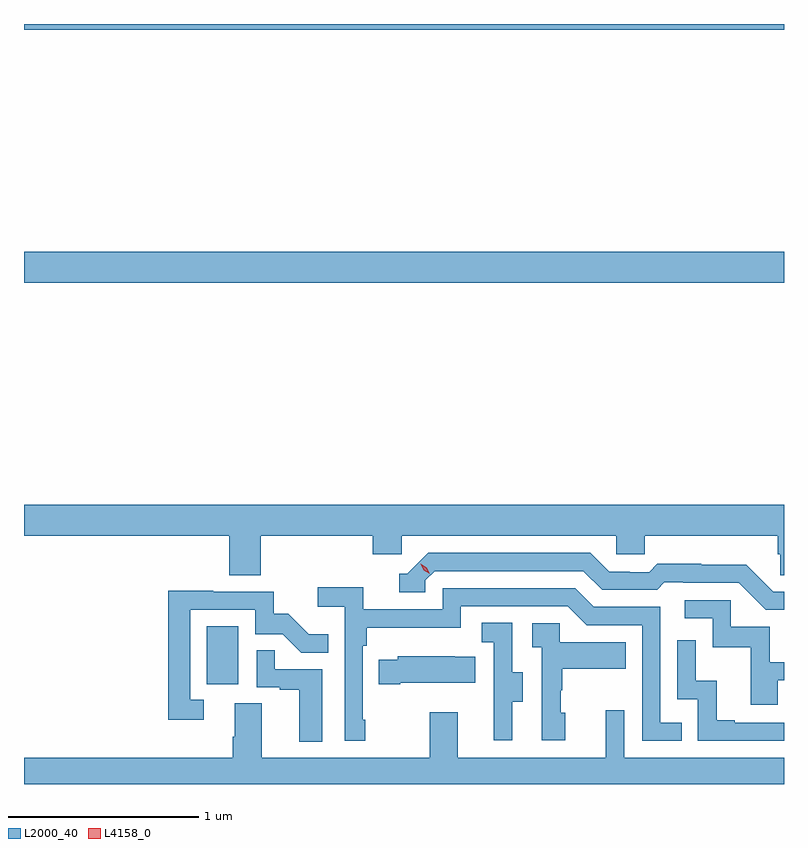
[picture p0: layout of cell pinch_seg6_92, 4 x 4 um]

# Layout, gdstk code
import gdstk
lib = gdstk.Library(unit=1e-6, precision=1e-09)
def R(c, l, rs):  # rectangles x0, y0, x1, y1
    for r in rs: c.add(gdstk.rectangle(r[:2], r[2:], *l))
def P(c, l, *ps):  # polygons
    for p in ps: c.add(gdstk.Polygon(p, *l))
L2000_40 = (2000, 40)
L4158_0 = (4158, 0)

pinch_seg6_92 = lib.new_cell('pinch_seg6_92')
R(pinch_seg6_92, L2000_40, [(921.674,918.582,921.838,918.889), (920.711,920.696,924.711,920.86), (920.711,922.028,924.711,922.058)])
P(pinch_seg6_92, L2000_40, [(921.956,919.364),(922.547,919.364),(922.547,919.266),(922.698,919.266),(922.698,919.364),(923.829,919.364),(923.829,919.266),(923.979,919.266),(923.979,919.364),(924.677,919.364),(924.677,919.266),(924.691,919.266),(924.691,919.156),(924.711,919.156),(924.711,919.528),(920.711,919.528),(920.711,919.364),(921.791,919.364),(921.791,919.156),(921.956,919.156)],
  [(924.711,919.071),(924.654,919.071),(924.512,919.213),(924.276,919.213),(924.276,919.216),(924.043,919.216),(924.001,919.173),(923.898,919.173),(923.898,919.176),(923.791,919.176),(923.692,919.275),(922.839,919.275),(922.728,919.164),(922.685,919.164),(922.685,919.068),(922.824,919.068),(922.824,919.131),(922.872,919.179),(923.655,919.179),(923.754,919.08),(924.043,919.08),(924.082,919.119),(924.181,919.119),(924.181,919.116),(924.474,919.116),(924.615,918.975),(924.711,918.975)],
  [(922.507,918.397),(922.494,918.397),(922.494,918.785),(922.514,918.785),(922.514,918.881),(923.01,918.881),(923.01,918.993),(923.574,918.993),(923.673,918.894),(923.964,918.894),(923.964,918.285),(924.173,918.285),(924.173,918.381),(924.06,918.381),(924.06,918.99),(923.71,918.99),(923.611,919.089),(922.914,919.089),(922.914,918.978),(922.496,918.978),(922.496,919.094),(922.257,919.094),(922.257,918.992),(922.398,918.992),(922.398,918.285),(922.507,918.285)],
  [(921.658,918.501),(921.585,918.501),(921.585,918.975),(921.927,918.975),(921.927,918.846),(922.072,918.846),(922.17,918.748),(922.313,918.748),(922.313,918.847),(922.209,918.847),(922.102,918.954),(922.026,918.954),(922.026,919.071),(921.707,919.071),(921.707,919.076),(921.469,919.076),(921.469,918.396),(921.658,918.396)],
  [(924.679,918.603),(924.711,918.603),(924.711,918.699),(924.637,918.699),(924.637,918.885),(924.432,918.885),(924.432,919.026),(924.189,919.026),(924.189,918.93),(924.336,918.93),(924.336,918.777),(924.535,918.777),(924.535,918.474),(924.679,918.474)],
  [(923.281,918.49),(923.335,918.49),(923.335,918.645),(923.28,918.645),(923.28,918.908),(923.121,918.908),(923.121,918.805),(923.184,918.805),(923.184,918.501),(923.183,918.501),(923.183,918.288),(923.281,918.288)],
  [(923.56,918.432),(923.535,918.432),(923.535,918.551),(923.545,918.551),(923.545,918.665),(923.879,918.665),(923.879,918.805),(923.532,918.805),(923.532,918.903),(923.385,918.903),(923.385,918.779),(923.436,918.779),(923.436,918.288),(923.56,918.288)],
  [(924.711,918.381),(924.451,918.381),(924.451,918.394),(924.356,918.394),(924.356,918.602),(924.246,918.602),(924.246,918.814),(924.15,918.814),(924.15,918.504),(924.258,918.504),(924.258,918.285),(924.711,918.285)],
  [(922.282,918.663),(922.031,918.663),(922.031,918.761),(921.936,918.761),(921.936,918.567),(922.057,918.567),(922.057,918.555),(922.16,918.555),(922.16,918.281),(922.282,918.281)],
  [(922.69,918.59),(923.087,918.59),(923.087,918.727),(922.979,918.727),(922.979,918.73),(922.677,918.73),(922.677,918.712),(922.579,918.712),(922.579,918.583),(922.69,918.583)],
  [(924.711,918.196),(923.871,918.196),(923.871,918.445),(923.774,918.445),(923.774,918.196),(922.993,918.196),(922.993,918.436),(922.846,918.436),(922.846,918.196),(921.961,918.196),(921.961,918.482),(921.821,918.482),(921.821,918.308),(921.809,918.308),(921.809,918.196),(920.711,918.196),(920.711,918.058),(924.711,918.058)])
P(pinch_seg6_92, L4158_0, [(922.847,919.164),(922.816,919.184),(922.8,919.216),(922.8,919.216),(922.8,919.216),(922.831,919.197),(922.847,919.165),(922.847,919.164)])

lib.write_gds('pinch_seg6_92.gds')
